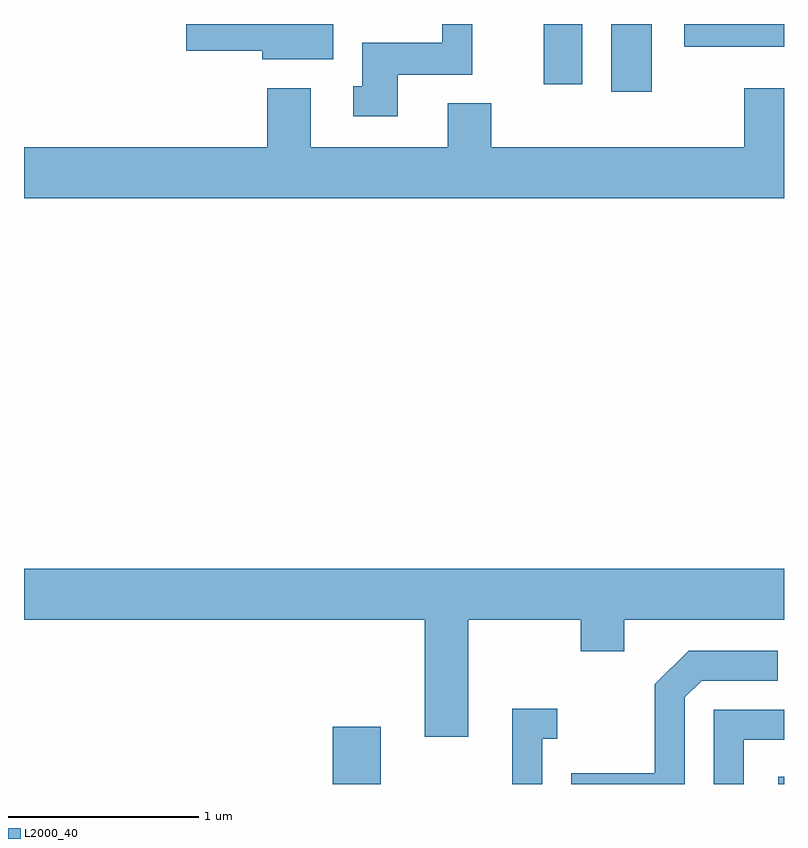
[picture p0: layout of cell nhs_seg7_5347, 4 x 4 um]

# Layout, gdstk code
import gdstk
lib = gdstk.Library(unit=1e-6, precision=1e-09)
def R(c, l, rs):  # rectangles x0, y0, x1, y1
    for r in rs: c.add(gdstk.rectangle(r[:2], r[2:], *l))
def P(c, l, *ps):  # polygons
    for p in ps: c.add(gdstk.Polygon(p, *l))
L2000_40 = (2000, 40)

nhs_seg7_5347 = lib.new_cell('nhs_seg7_5347')
R(nhs_seg7_5347, L2000_40, [(349.236,1802.252,349.489,1802.554), (351.581,1802.252,351.611,1802.289), (350.701,1805.896,350.914,1806.252), (350.346,1805.936,350.549,1806.252), (351.086,1806.131,351.611,1806.252)])
P(nhs_seg7_5347, L2000_40, [(349.239,1806.252),(348.466,1806.252),(348.466,1806.111),(348.866,1806.111),(348.866,1806.066),(349.239,1806.066)],
  [(349.579,1805.986),(349.969,1805.986),(349.969,1806.252),(349.811,1806.252),(349.811,1806.154),(349.391,1806.154),(349.391,1805.924),(349.343,1805.924),(349.343,1805.766),(349.579,1805.766)],
  [(351.611,1805.914),(351.401,1805.914),(351.401,1805.604),(350.069,1805.604),(350.069,1805.834),(349.841,1805.834),(349.841,1805.604),(349.119,1805.604),(349.119,1805.914),(348.891,1805.914),(348.891,1805.604),(347.611,1805.604),(347.611,1805.336),(351.611,1805.336)],
  [(349.949,1803.116),(350.541,1803.116),(350.541,1802.951),(350.769,1802.951),(350.769,1803.116),(351.611,1803.116),(351.611,1803.384),(347.611,1803.384),(347.611,1803.116),(349.721,1803.116),(349.721,1802.501),(349.949,1802.501)],
  [(351.089,1802.709),(351.177,1802.796),(351.578,1802.796),(351.578,1802.954),(351.109,1802.954),(350.931,1802.777),(350.931,1802.309),(350.491,1802.309),(350.491,1802.252),(351.089,1802.252)],
  [(350.339,1802.491),(350.418,1802.491),(350.418,1802.649),(350.181,1802.649),(350.181,1802.252),(350.339,1802.252)],
  [(351.399,1802.486),(351.611,1802.486),(351.611,1802.644),(351.241,1802.644),(351.241,1802.252),(351.399,1802.252)])

lib.write_gds('nhs_seg7_5347.gds')
